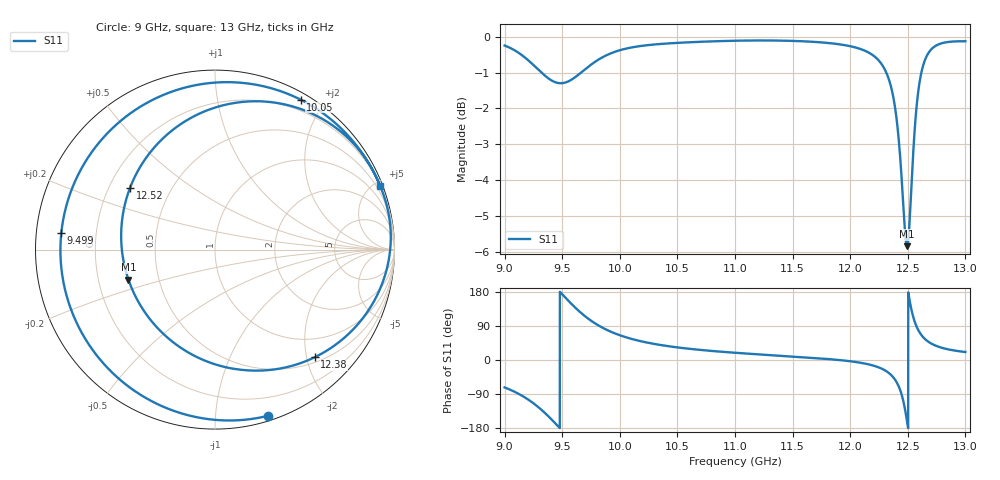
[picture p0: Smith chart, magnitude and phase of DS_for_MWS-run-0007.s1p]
! TOUCHSTONE file generated by CST DESIGN STUDIO
! Date and time: Tue Feb  4 18:45:13 2025
! Project name: C:\Work\MatlabApps\UnitCellOptimizationMatlab\CST\unitcell.cst
! Tree item: Tasks\Sweep1\SPara1\S-Parameters
! Header version: 2024
! Port assignment regex: !\s*Touchstone port\s*([0-9]+)\s*=\s*(CST MWS port|CST DES external port|CST DES block port)\s*(.+)\s* \(\"(.*)\"\)(\s*mode\s*([0-9]+))?.*
! Touchstone port assignment:
! Touchstone port 1 = CST DES external port 1 ("")
# GHz S MA R 50
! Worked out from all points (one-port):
!   4001 points, 9 GHz to 13 GHz, reference 50 ohm
!   lowest |S11| = -5.8 dB at 12.49 GHz (marker M1), VSWR 3.09, Z = 16.6 - j7.53 ohm
!   |S11| at or under -10 dB: nowhere
!   S11 on the Smith chart (normalised r, x): 9 GHz: 0.04, -1.37; 9.499 GHz: 0.07, +0.05; 10.05 GHz: 0.08, +1.72; 12.38 GHz: 0.59, -2.15; 12.52 GHz: 0.29, +0.30; 13 GHz: 0.22, +5.36
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9  0.9719 -72.3
9.151  0.9423 -94.3
9.267  0.9079 -118.1
9.399  0.8706 -154.2
9.499  0.8614 173.8
9.5  0.8615 173.5
9.615  0.8787 137.7
9.718  0.9058 110.9
9.835  0.9332 87.7
10  0.9575 65.4
10.05  0.9621 60.3
10.5  0.9804 33.2
11  0.9871 19.1
11.5  0.9866 9.2
12  0.97 -3.3
12.256  0.9232 -20.5
12.378  0.8174 -47.2
12.445  0.6405 -89.6
12.469  0.5549 -119.4
12.493  0.5105 -160.8
12.5  0.5144 -174.1
12.524  0.5855 143.9
12.552  0.7103 108.7
12.581  0.8131 85.0
12.627  0.9041 62.5
12.682  0.9505 47.5
12.798  0.9795 32.0
13  0.9855 21.1
